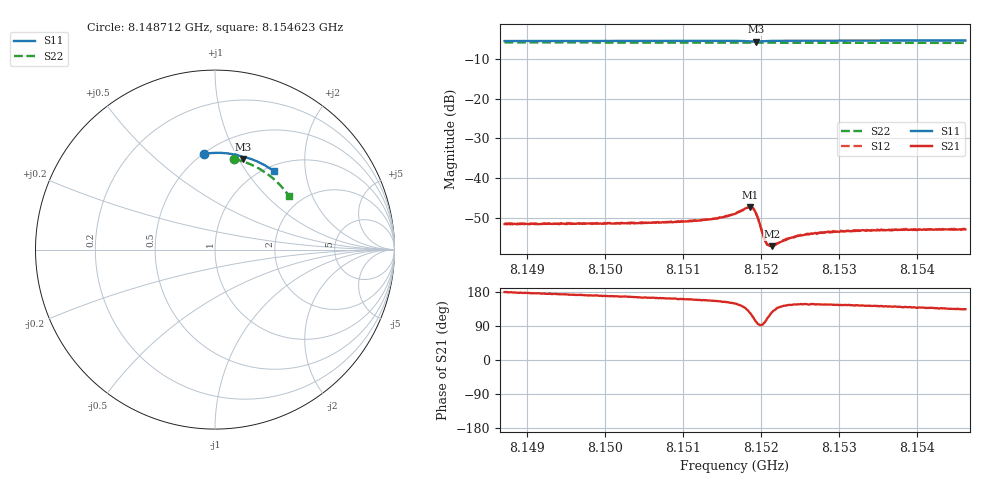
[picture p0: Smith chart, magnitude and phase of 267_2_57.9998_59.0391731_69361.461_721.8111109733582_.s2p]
#  HZ  S  RI  R  50.00
! Rohde & Schwarz Vector Network Analyzer
! Rohde-Schwarz,ZNB20-2Port,1311601062101988,3.16
! Created: UTC 3/21/2024, 1:02:13 AM
! freq[Hz]  re:S11  im:S11  re:S21  im:S21  re:S12  im:S12  re:S22  im:S22
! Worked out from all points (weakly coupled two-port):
!   401 points, 8.148712 GHz to 8.154623 GHz, reference 50 ohm
!   highest |S21| = -47.36 dB at 8.15186 GHz (marker M1); lowest = -57.2 dB at 8.15214 GHz (marker M2)
!   lowest |S11| = -5.5 dB at 8.151934 GHz (marker M3), VSWR 3.24, Z = 37.3 + j52.3 ohm
!   |S11| at or under -10 dB: nowhere
!   |S22| runs from -5.9 to -5.7 dB; largest |S21 - S12| = 0.00012
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8.1487117e9  -0.0604 0.5342  -0.00262 3.07e-05  -0.00269 0.000105  0.105 0.5053
8.1497019e9  0.00875 0.5391  -0.00261 0.000392  -0.00261 0.000481  0.1668 0.4872
8.1506921e9  0.0779 0.5351  -0.00261 0.000788  -0.00265 0.000839  0.2258 0.4619
8.1513128e9  0.1214 0.5278  -0.00276 0.00116  -0.00276 0.0012  0.2608 0.4422
8.1515345e9  0.1375 0.5235  -0.00291 0.00143  -0.00291 0.00148  0.2728 0.4344
8.1516675e9  0.1475 0.52  -0.00302 0.00183  -0.00307 0.00192  0.2799 0.4296
8.1518153e9  0.1579 0.5122  -0.0029 0.003  -0.00288 0.00306  0.2876 0.4241
8.1518597e9  0.1592 0.5083  -0.00244 0.00352  -0.00239 0.00361  0.2898 0.4222
8.151904e9  0.1579 0.5053  -0.00151 0.00382  -0.00147 0.00383  0.292 0.4207
8.1519336e9  0.1564 0.5052  -0.000764 0.00358  -0.000755 0.00361  0.2932 0.4196
8.1519631e9  0.1555 0.5067  -0.000255 0.00306  -0.000231 0.00311  0.2949 0.4187
8.1520222e9  0.1578 0.5108  -0.000115 0.00197  -0.000129 0.00196  0.2979 0.4165
8.1520518e9  0.1601 0.512  -0.000289 0.00161  -0.00026 0.00161  0.2995 0.4155
8.1520814e9  0.1627 0.5127  -0.000492 0.00134  -0.000484 0.00139  0.3011 0.4144
8.1520961e9  0.1641 0.5129  -0.000574 0.0013  -0.000554 0.00132  0.3017 0.4138
8.1521405e9  0.1679 0.513  -0.000806 0.00112  -0.000803 0.00113  0.304 0.4122
8.1523474e9  0.1843 0.5101  -0.0014 0.000978  -0.00138 0.001  0.3146 0.404
8.1524804e9  0.1938 0.5072  -0.00155 0.00101  -0.00156 0.00104  0.3212 0.3985
8.1526578e9  0.206 0.5029  -0.00168 0.00106  -0.00163 0.00111  0.3298 0.3911
8.1530272e9  0.2303 0.4932  -0.00176 0.00121  -0.00176 0.00125  0.3474 0.375
8.153648e9  0.2692 0.4742  -0.00171 0.00135  -0.00172 0.00141  0.3746 0.3466
8.1546234e9  0.3262 0.4385  -0.00156 0.00161  -0.00159 0.00165  0.4127 0.2979
